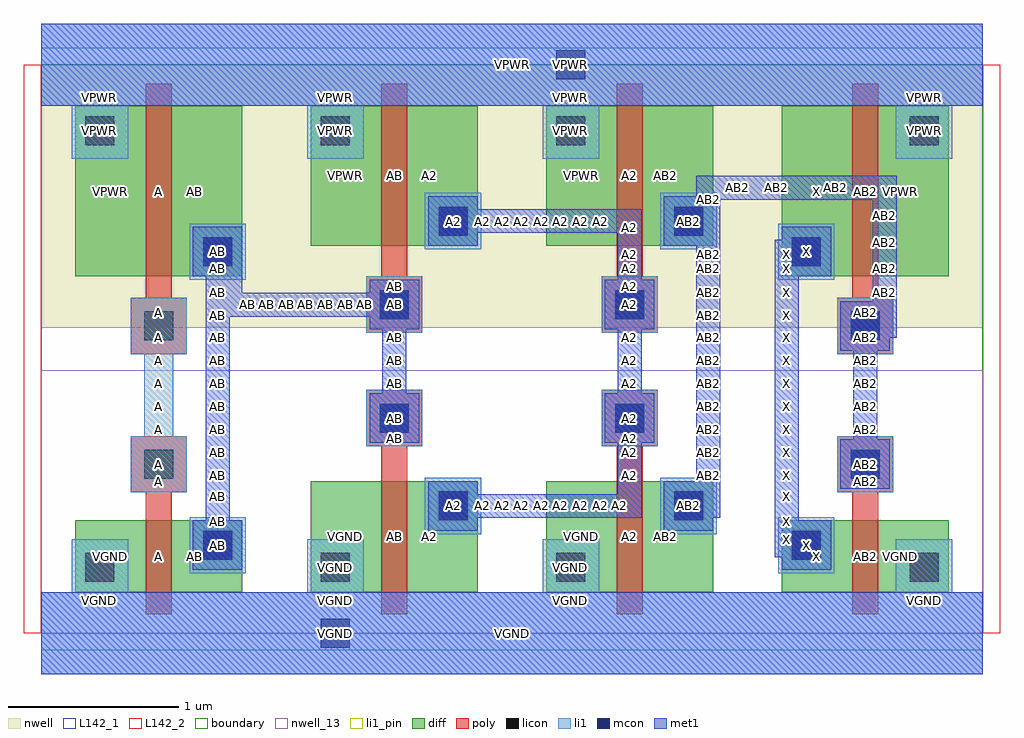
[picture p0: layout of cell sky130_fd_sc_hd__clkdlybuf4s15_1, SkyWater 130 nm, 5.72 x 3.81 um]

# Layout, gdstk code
import gdstk
lib = gdstk.Library(unit=1e-6, precision=1e-09)
def R(c, l, rs):  # rectangles x0, y0, x1, y1
    for r in rs: c.add(gdstk.rectangle(r[:2], r[2:], *l))
def A(c, l, x, y, w, h, nx, ny, dx, dy):  # array of equal rectangles
    R(c, l, [(x+i*dx, y+j*dy, x+i*dx+w, y+j*dy+h) for i in range(nx) for j in range(ny)])
def P(c, l, *ps):  # polygons
    for p in ps: c.add(gdstk.Polygon(p, *l))
nwell_13 = (64, 13)
nwell = (64, 20)
diff = (65, 20)
poly = (66, 20)
licon = (66, 44)
li1_pin = (67, 16)
li1 = (67, 20)
mcon = (67, 44)
met1 = (68, 20)
L142_1 = (142, 1)
L142_2 = (142, 2)
boundary = (235, 4)

sky130_fd_sc_hd__clkdlyb = lib.new_cell('sky130_fd_sc_hd__clkdlybuf4s15_1')
R(sky130_fd_sc_hd__clkdlyb, nwell_13, [(0,0,5.52,1.54)])
R(sky130_fd_sc_hd__clkdlyb, nwell, [(0,1.79,5.52,3.33)])
R(sky130_fd_sc_hd__clkdlyb, diff, [(0.2,0.24,1.18,0.66), (0.2,0.24,0.615,0.66), (0.615,0.24,1.18,0.66), (1.58,0.24,2.56,0.89), (1.58,0.24,1.995,0.89), (1.995,0.24,2.56,0.89), (2.96,0.24,3.94,0.89), (2.96,0.24,3.375,0.89), (3.375,0.24,3.94,0.89), (4.34,0.24,5.32,0.66), (4.34,0.24,4.755,0.66), (4.755,0.24,5.32,0.66), (0.2,2.09,1.18,3.09), (0.2,2.09,0.615,3.09), (0.615,2.09,1.18,3.09), (4.34,2.09,5.32,3.09), (4.34,2.09,4.755,3.09), (4.755,2.09,5.32,3.09), (1.58,2.27,2.56,3.09), (1.58,2.27,1.995,3.09), (1.995,2.27,2.56,3.09), (2.96,2.27,3.94,3.09), (2.96,2.27,3.375,3.09), (3.375,2.27,3.94,3.09)])
P(sky130_fd_sc_hd__clkdlyb, poly, [(3.375,0.11),(3.375,1.095),(3.285,1.095),(3.285,1.425),(3.615,1.425),(3.615,1.095),(3.525,1.095),(3.525,0.11)],
  [(3.285,1.76),(3.285,2.09),(3.375,2.09),(3.375,3.22),(3.525,3.22),(3.525,2.09),(3.615,2.09),(3.615,1.76)],
  [(0.615,0.11),(0.615,0.825),(0.525,0.825),(0.525,1.155),(0.855,1.155),(0.855,0.825),(0.765,0.825),(0.765,0.11)],
  [(0.525,1.635),(0.525,1.965),(0.615,1.965),(0.615,3.22),(0.765,3.22),(0.765,1.965),(0.855,1.965),(0.855,1.635)],
  [(1.995,0.11),(1.995,1.095),(1.905,1.095),(1.905,1.425),(2.235,1.425),(2.235,1.095),(2.145,1.095),(2.145,0.11)],
  [(1.905,1.76),(1.905,2.09),(1.995,2.09),(1.995,3.22),(2.145,3.22),(2.145,2.09),(2.235,2.09),(2.235,1.76)],
  [(4.755,0.11),(4.755,0.825),(4.665,0.825),(4.665,1.155),(4.995,1.155),(4.995,0.825),(4.905,0.825),(4.905,0.11)],
  [(4.665,1.635),(4.665,1.965),(4.755,1.965),(4.755,3.22),(4.905,3.22),(4.905,1.965),(4.995,1.965),(4.995,1.635)])
A(sky130_fd_sc_hd__clkdlyb, licon, 0.26, 0.3, 0.17, 0.17, 3, 2, 1.38, 2.56)
R(sky130_fd_sc_hd__clkdlyb, licon, [(5.09,0.3,5.26,0.47), (0.95,0.43,1.12,0.6), (4.4,0.43,4.57,0.6), (2.33,0.66,2.5,0.83), (3.71,0.66,3.88,0.83), (0.605,0.905,0.775,1.075), (4.745,0.905,4.915,1.075), (1.985,1.175,2.155,1.345), (3.365,1.175,3.535,1.345), (0.605,1.715,0.775,1.885), (4.745,1.715,4.915,1.885), (1.985,1.84,2.155,2.01), (3.365,1.84,3.535,2.01), (0.95,2.15,1.12,2.32), (4.4,2.15,4.57,2.32), (2.33,2.33,2.5,2.5), (3.71,2.33,3.88,2.5), (5.09,2.86,5.26,3.03)])
R(sky130_fd_sc_hd__clkdlyb, li1_pin, [(0,-0.24,5.52,0.24), (4.32,0.35,4.65,0.68), (0,3.09,5.52,3.57)])
P(sky130_fd_sc_hd__clkdlyb, li1_pin, [(0.525,0.825),(0.525,1.155),(0.605,1.155),(0.605,1.635),(0.525,1.635),(0.525,1.965),(0.855,1.965),(0.855,1.635),(0.775,1.635),(0.775,1.155),(0.855,1.155),(0.855,0.825)])
R(sky130_fd_sc_hd__clkdlyb, li1, [(0.87,0.35,1.2,0.68), (4.32,0.35,4.65,0.68), (2.25,0.58,2.58,0.91), (3.63,0.58,3.96,0.91), (4.665,0.825,4.995,1.155), (1.905,1.095,2.235,1.425), (3.285,1.095,3.615,1.425), (4.665,1.635,4.995,1.965), (1.905,1.76,2.235,2.09), (3.285,1.76,3.615,2.09), (0.87,2.07,1.2,2.4), (4.32,2.07,4.65,2.4), (2.25,2.25,2.58,2.58), (3.63,2.25,3.96,2.58)])
P(sky130_fd_sc_hd__clkdlyb, li1, [(0.18,2.78),(0.18,3.09),(0,3.09),(0,3.57),(5.52,3.57),(5.52,3.09),(5.34,3.09),(5.34,2.78),(5.01,2.78),(5.01,3.09),(3.27,3.09),(3.27,2.78),(2.94,2.78),(2.94,3.09),(1.89,3.09),(1.89,2.78),(1.56,2.78),(1.56,3.09),(0.51,3.09),(0.51,2.78)],
  [(0,-0.24),(0,0.24),(0.18,0.24),(0.18,0.55),(0.51,0.55),(0.51,0.24),(1.56,0.24),(1.56,0.55),(1.89,0.55),(1.89,0.24),(2.94,0.24),(2.94,0.55),(3.27,0.55),(3.27,0.24),(5.01,0.24),(5.01,0.55),(5.34,0.55),(5.34,0.24),(5.52,0.24),(5.52,-0.24)],
  [(0.525,0.825),(0.525,1.155),(0.605,1.155),(0.605,1.635),(0.525,1.635),(0.525,1.965),(0.855,1.965),(0.855,1.635),(0.775,1.635),(0.775,1.155),(0.855,1.155),(0.855,0.825)])
R(sky130_fd_sc_hd__clkdlyb, mcon, [(1.64,-0.085,1.81,0.085), (0.95,0.43,1.12,0.6), (4.4,0.43,4.57,0.6), (2.33,0.66,2.5,0.83), (3.71,0.66,3.88,0.83), (4.745,0.905,4.915,1.075), (1.985,1.175,2.155,1.345), (3.365,1.175,3.535,1.345), (4.745,1.715,4.915,1.885), (1.985,1.84,2.155,2.01), (3.365,1.84,3.535,2.01), (0.95,2.15,1.12,2.32), (4.4,2.15,4.57,2.32), (2.33,2.33,2.5,2.5), (3.71,2.33,3.88,2.5), (3.02,3.245,3.19,3.415)])
R(sky130_fd_sc_hd__clkdlyb, met1, [(0,-0.24,5.52,0.24), (1.105,1.995,1.18,2.09), (0,3.09,5.52,3.57)])
P(sky130_fd_sc_hd__clkdlyb, met1, [(2.27,0.6),(2.27,0.89),(2.56,0.89),(2.56,0.815),(3.38,0.815),(3.38,1.115),(3.305,1.115),(3.305,1.405),(3.38,1.405),(3.38,1.78),(3.305,1.78),(3.305,2.07),(3.38,2.07),(3.38,2.345),(2.56,2.345),(2.56,2.27),(2.27,2.27),(2.27,2.56),(2.56,2.56),(2.56,2.485),(3.52,2.485),(3.52,2.07),(3.595,2.07),(3.595,1.78),(3.52,1.78),(3.52,1.405),(3.595,1.405),(3.595,1.115),(3.52,1.115),(3.52,0.675),(2.56,0.675),(2.56,0.6)],
  [(0.89,0.37),(0.89,0.66),(0.965,0.66),(0.965,2.09),(0.89,2.09),(0.89,2.38),(1.18,2.38),(1.18,2.09),(1.105,2.09),(1.105,1.995),(1.925,1.995),(1.925,2.07),(2.215,2.07),(2.215,1.78),(2.14,1.78),(2.14,1.405),(2.215,1.405),(2.215,1.115),(1.925,1.115),(1.925,1.405),(2,1.405),(2,1.78),(1.925,1.78),(1.925,1.855),(1.105,1.855),(1.105,0.66),(1.18,0.66),(1.18,0.37)],
  [(4.34,0.37),(4.34,0.445),(4.3,0.445),(4.3,2.305),(4.34,2.305),(4.34,2.38),(4.63,2.38),(4.63,2.09),(4.44,2.09),(4.44,0.66),(4.63,0.66),(4.63,0.37)],
  [(3.65,0.6),(3.65,0.89),(3.84,0.89),(3.84,2.27),(3.65,2.27),(3.65,2.56),(3.84,2.56),(3.84,2.68),(5.015,2.68),(5.015,1.73),(4.975,1.73),(4.975,1.655),(4.9,1.655),(4.9,1.135),(4.975,1.135),(4.975,0.845),(4.685,0.845),(4.685,1.135),(4.76,1.135),(4.76,1.655),(4.685,1.655),(4.685,1.945),(4.875,1.945),(4.875,2.54),(3.98,2.54),(3.98,0.675),(3.94,0.675),(3.94,0.6)])
R(sky130_fd_sc_hd__clkdlyb, L142_1, [(0,-0.1,5.52,0), (0,3.33,5.52,3.43)])
R(sky130_fd_sc_hd__clkdlyb, L142_2, [(-0.1,0,0,3.33), (5.52,0,5.62,3.33)])
R(sky130_fd_sc_hd__clkdlyb, boundary, [(0,0,5.52,3.33)])
sky130_fd_sc_hd__clkdlyb.add(gdstk.Label('VGND', (1.787,0.565), layer=65, texttype=20))
sky130_fd_sc_hd__clkdlyb.add(gdstk.Label('A2', (2.277,0.565), layer=65, texttype=20))
sky130_fd_sc_hd__clkdlyb.add(gdstk.Label('VGND', (3.167,0.565), layer=65, texttype=20))
sky130_fd_sc_hd__clkdlyb.add(gdstk.Label('AB2', (3.657,0.565), layer=65, texttype=20))
sky130_fd_sc_hd__clkdlyb.add(gdstk.Label('VGND', (0.407,0.45), layer=65, texttype=20))
sky130_fd_sc_hd__clkdlyb.add(gdstk.Label('AB', (0.897,0.45), layer=65, texttype=20))
sky130_fd_sc_hd__clkdlyb.add(gdstk.Label('X', (4.547,0.45), layer=65, texttype=20))
sky130_fd_sc_hd__clkdlyb.add(gdstk.Label('VGND', (5.037,0.45), layer=65, texttype=20))
sky130_fd_sc_hd__clkdlyb.add(gdstk.Label('VGND', (1.787,0.565), layer=65, texttype=20))
sky130_fd_sc_hd__clkdlyb.add(gdstk.Label('A2', (2.277,0.565), layer=65, texttype=20))
sky130_fd_sc_hd__clkdlyb.add(gdstk.Label('VGND', (3.167,0.565), layer=65, texttype=20))
sky130_fd_sc_hd__clkdlyb.add(gdstk.Label('AB2', (3.657,0.565), layer=65, texttype=20))
sky130_fd_sc_hd__clkdlyb.add(gdstk.Label('VGND', (0.407,0.45), layer=65, texttype=20))
sky130_fd_sc_hd__clkdlyb.add(gdstk.Label('AB', (0.897,0.45), layer=65, texttype=20))
sky130_fd_sc_hd__clkdlyb.add(gdstk.Label('X', (4.547,0.45), layer=65, texttype=20))
sky130_fd_sc_hd__clkdlyb.add(gdstk.Label('VGND', (5.037,0.45), layer=65, texttype=20))
sky130_fd_sc_hd__clkdlyb.add(gdstk.Label('VGND', (1.725,0.385), layer=65, texttype=20))
sky130_fd_sc_hd__clkdlyb.add(gdstk.Label('VGND', (3.105,0.385), layer=65, texttype=20))
sky130_fd_sc_hd__clkdlyb.add(gdstk.Label('VGND', (5.175,0.385), layer=65, texttype=20))
sky130_fd_sc_hd__clkdlyb.add(gdstk.Label('VGND', (0.345,0.385), layer=65, texttype=20))
sky130_fd_sc_hd__clkdlyb.add(gdstk.Label('A2', (2.415,0.745), layer=65, texttype=20))
sky130_fd_sc_hd__clkdlyb.add(gdstk.Label('AB2', (3.795,0.745), layer=65, texttype=20))
sky130_fd_sc_hd__clkdlyb.add(gdstk.Label('AB', (1.035,0.515), layer=65, texttype=20))
sky130_fd_sc_hd__clkdlyb.add(gdstk.Label('X', (4.485,0.515), layer=65, texttype=20))
sky130_fd_sc_hd__clkdlyb.add(gdstk.Label('VPWR', (3.167,2.68), layer=65, texttype=20))
sky130_fd_sc_hd__clkdlyb.add(gdstk.Label('AB2', (3.657,2.68), layer=65, texttype=20))
sky130_fd_sc_hd__clkdlyb.add(gdstk.Label('VPWR', (0.407,2.59), layer=65, texttype=20))
sky130_fd_sc_hd__clkdlyb.add(gdstk.Label('AB', (0.897,2.59), layer=65, texttype=20))
sky130_fd_sc_hd__clkdlyb.add(gdstk.Label('X', (4.547,2.59), layer=65, texttype=20))
sky130_fd_sc_hd__clkdlyb.add(gdstk.Label('VPWR', (5.037,2.59), layer=65, texttype=20))
sky130_fd_sc_hd__clkdlyb.add(gdstk.Label('VPWR', (1.787,2.68), layer=65, texttype=20))
sky130_fd_sc_hd__clkdlyb.add(gdstk.Label('A2', (2.277,2.68), layer=65, texttype=20))
sky130_fd_sc_hd__clkdlyb.add(gdstk.Label('VPWR', (3.167,2.68), layer=65, texttype=20))
sky130_fd_sc_hd__clkdlyb.add(gdstk.Label('AB2', (3.657,2.68), layer=65, texttype=20))
sky130_fd_sc_hd__clkdlyb.add(gdstk.Label('VPWR', (0.407,2.59), layer=65, texttype=20))
sky130_fd_sc_hd__clkdlyb.add(gdstk.Label('AB', (0.897,2.59), layer=65, texttype=20))
sky130_fd_sc_hd__clkdlyb.add(gdstk.Label('X', (4.547,2.59), layer=65, texttype=20))
sky130_fd_sc_hd__clkdlyb.add(gdstk.Label('VPWR', (5.037,2.59), layer=65, texttype=20))
sky130_fd_sc_hd__clkdlyb.add(gdstk.Label('VPWR', (1.787,2.68), layer=65, texttype=20))
sky130_fd_sc_hd__clkdlyb.add(gdstk.Label('A2', (2.277,2.68), layer=65, texttype=20))
sky130_fd_sc_hd__clkdlyb.add(gdstk.Label('A2', (2.415,2.415), layer=65, texttype=20))
sky130_fd_sc_hd__clkdlyb.add(gdstk.Label('AB2', (3.795,2.415), layer=65, texttype=20))
sky130_fd_sc_hd__clkdlyb.add(gdstk.Label('AB', (1.035,2.235), layer=65, texttype=20))
sky130_fd_sc_hd__clkdlyb.add(gdstk.Label('X', (4.485,2.235), layer=65, texttype=20))
sky130_fd_sc_hd__clkdlyb.add(gdstk.Label('VPWR', (3.105,2.945), layer=65, texttype=20))
sky130_fd_sc_hd__clkdlyb.add(gdstk.Label('VPWR', (0.345,2.945), layer=65, texttype=20))
sky130_fd_sc_hd__clkdlyb.add(gdstk.Label('VPWR', (5.175,2.945), layer=65, texttype=20))
sky130_fd_sc_hd__clkdlyb.add(gdstk.Label('VPWR', (1.725,2.945), layer=65, texttype=20))
sky130_fd_sc_hd__clkdlyb.add(gdstk.Label('AB', (2.07,0.565), layer=66, texttype=20))
sky130_fd_sc_hd__clkdlyb.add(gdstk.Label('A2', (3.45,0.565), layer=66, texttype=20))
sky130_fd_sc_hd__clkdlyb.add(gdstk.Label('A', (0.69,0.45), layer=66, texttype=20))
sky130_fd_sc_hd__clkdlyb.add(gdstk.Label('A2', (3.45,2.68), layer=66, texttype=20))
sky130_fd_sc_hd__clkdlyb.add(gdstk.Label('A', (0.69,2.59), layer=66, texttype=20))
sky130_fd_sc_hd__clkdlyb.add(gdstk.Label('AB2', (4.83,2.59), layer=66, texttype=20))
sky130_fd_sc_hd__clkdlyb.add(gdstk.Label('AB2', (4.83,0.45), layer=66, texttype=20))
sky130_fd_sc_hd__clkdlyb.add(gdstk.Label('AB', (2.07,2.68), layer=66, texttype=20))
sky130_fd_sc_hd__clkdlyb.add(gdstk.Label('AB', (2.07,0.565), layer=66, texttype=20))
sky130_fd_sc_hd__clkdlyb.add(gdstk.Label('A2', (3.45,0.565), layer=66, texttype=20))
sky130_fd_sc_hd__clkdlyb.add(gdstk.Label('A', (0.69,0.45), layer=66, texttype=20))
sky130_fd_sc_hd__clkdlyb.add(gdstk.Label('A2', (3.45,2.68), layer=66, texttype=20))
sky130_fd_sc_hd__clkdlyb.add(gdstk.Label('A', (0.69,2.59), layer=66, texttype=20))
sky130_fd_sc_hd__clkdlyb.add(gdstk.Label('AB2', (4.83,2.59), layer=66, texttype=20))
sky130_fd_sc_hd__clkdlyb.add(gdstk.Label('AB2', (4.83,0.45), layer=66, texttype=20))
sky130_fd_sc_hd__clkdlyb.add(gdstk.Label('AB', (2.07,2.68), layer=66, texttype=20))
sky130_fd_sc_hd__clkdlyb.add(gdstk.Label('A2', (3.45,1.14), layer=66, texttype=20))
sky130_fd_sc_hd__clkdlyb.add(gdstk.Label('A2', (3.45,2.032), layer=66, texttype=20))
sky130_fd_sc_hd__clkdlyb.add(gdstk.Label('AB2', (4.83,1.88), layer=66, texttype=20))
sky130_fd_sc_hd__clkdlyb.add(gdstk.Label('AB2', (4.83,0.89), layer=66, texttype=20))
sky130_fd_sc_hd__clkdlyb.add(gdstk.Label('AB', (2.07,2.032), layer=66, texttype=20))
sky130_fd_sc_hd__clkdlyb.add(gdstk.Label('AB', (2.07,1.14), layer=66, texttype=20))
sky130_fd_sc_hd__clkdlyb.add(gdstk.Label('A', (0.69,0.89), layer=66, texttype=20))
sky130_fd_sc_hd__clkdlyb.add(gdstk.Label('A', (0.69,1.88), layer=66, texttype=20))
sky130_fd_sc_hd__clkdlyb.add(gdstk.Label('A2', (3.45,1.26), layer=66, texttype=20))
sky130_fd_sc_hd__clkdlyb.add(gdstk.Label('A2', (3.45,1.925), layer=66, texttype=20))
sky130_fd_sc_hd__clkdlyb.add(gdstk.Label('AB2', (4.83,1.8), layer=66, texttype=20))
sky130_fd_sc_hd__clkdlyb.add(gdstk.Label('AB2', (4.83,0.99), layer=66, texttype=20))
sky130_fd_sc_hd__clkdlyb.add(gdstk.Label('AB', (2.07,1.925), layer=66, texttype=20))
sky130_fd_sc_hd__clkdlyb.add(gdstk.Label('AB', (2.07,1.26), layer=66, texttype=20))
sky130_fd_sc_hd__clkdlyb.add(gdstk.Label('A', (0.69,0.99), layer=66, texttype=20))
sky130_fd_sc_hd__clkdlyb.add(gdstk.Label('A', (0.69,1.8), layer=66, texttype=20))
sky130_fd_sc_hd__clkdlyb.add(gdstk.Label('A2', (2.415,2.415), layer=66, texttype=44))
sky130_fd_sc_hd__clkdlyb.add(gdstk.Label('AB2', (3.795,2.415), layer=66, texttype=44))
sky130_fd_sc_hd__clkdlyb.add(gdstk.Label('AB', (1.035,2.235), layer=66, texttype=44))
sky130_fd_sc_hd__clkdlyb.add(gdstk.Label('X', (4.485,2.235), layer=66, texttype=44))
sky130_fd_sc_hd__clkdlyb.add(gdstk.Label('VPWR', (3.105,2.945), layer=66, texttype=44))
sky130_fd_sc_hd__clkdlyb.add(gdstk.Label('VPWR', (0.345,2.945), layer=66, texttype=44))
sky130_fd_sc_hd__clkdlyb.add(gdstk.Label('VPWR', (5.175,2.945), layer=66, texttype=44))
sky130_fd_sc_hd__clkdlyb.add(gdstk.Label('VPWR', (1.725,2.945), layer=66, texttype=44))
sky130_fd_sc_hd__clkdlyb.add(gdstk.Label('VGND', (1.725,0.385), layer=66, texttype=44))
sky130_fd_sc_hd__clkdlyb.add(gdstk.Label('VGND', (3.105,0.385), layer=66, texttype=44))
sky130_fd_sc_hd__clkdlyb.add(gdstk.Label('VGND', (5.175,0.385), layer=66, texttype=44))
sky130_fd_sc_hd__clkdlyb.add(gdstk.Label('VGND', (0.345,0.385), layer=66, texttype=44))
sky130_fd_sc_hd__clkdlyb.add(gdstk.Label('A2', (2.415,0.745), layer=66, texttype=44))
sky130_fd_sc_hd__clkdlyb.add(gdstk.Label('AB2', (3.795,0.745), layer=66, texttype=44))
sky130_fd_sc_hd__clkdlyb.add(gdstk.Label('AB', (1.035,0.515), layer=66, texttype=44))
sky130_fd_sc_hd__clkdlyb.add(gdstk.Label('X', (4.485,0.515), layer=66, texttype=44))
sky130_fd_sc_hd__clkdlyb.add(gdstk.Label('A2', (3.45,1.26), layer=66, texttype=44))
sky130_fd_sc_hd__clkdlyb.add(gdstk.Label('A2', (3.45,1.925), layer=66, texttype=44))
sky130_fd_sc_hd__clkdlyb.add(gdstk.Label('AB2', (4.83,1.8), layer=66, texttype=44))
sky130_fd_sc_hd__clkdlyb.add(gdstk.Label('AB2', (4.83,0.99), layer=66, texttype=44))
sky130_fd_sc_hd__clkdlyb.add(gdstk.Label('AB', (2.07,1.925), layer=66, texttype=44))
sky130_fd_sc_hd__clkdlyb.add(gdstk.Label('AB', (2.07,1.26), layer=66, texttype=44))
sky130_fd_sc_hd__clkdlyb.add(gdstk.Label('A', (0.69,0.99), layer=66, texttype=44))
sky130_fd_sc_hd__clkdlyb.add(gdstk.Label('A', (0.69,1.8), layer=66, texttype=44))
sky130_fd_sc_hd__clkdlyb.add(gdstk.Label('VPWR', (2.76,3.33), layer=67, texttype=20))
sky130_fd_sc_hd__clkdlyb.add(gdstk.Label('VGND', (2.76,0), layer=67, texttype=20))
sky130_fd_sc_hd__clkdlyb.add(gdstk.Label('VPWR', (2.76,3.33), layer=67, texttype=20))
sky130_fd_sc_hd__clkdlyb.add(gdstk.Label('VGND', (2.76,0), layer=67, texttype=20))
sky130_fd_sc_hd__clkdlyb.add(gdstk.Label('VGND', (1.725,0.192), layer=67, texttype=20))
sky130_fd_sc_hd__clkdlyb.add(gdstk.Label('VGND', (3.105,0.192), layer=67, texttype=20))
sky130_fd_sc_hd__clkdlyb.add(gdstk.Label('VGND', (5.175,0.192), layer=67, texttype=20))
sky130_fd_sc_hd__clkdlyb.add(gdstk.Label('VGND', (0.345,0.192), layer=67, texttype=20))
sky130_fd_sc_hd__clkdlyb.add(gdstk.Label('VPWR', (3.105,3.137), layer=67, texttype=20))
sky130_fd_sc_hd__clkdlyb.add(gdstk.Label('VPWR', (0.345,3.137), layer=67, texttype=20))
sky130_fd_sc_hd__clkdlyb.add(gdstk.Label('VPWR', (5.175,3.137), layer=67, texttype=20))
sky130_fd_sc_hd__clkdlyb.add(gdstk.Label('VPWR', (1.725,3.137), layer=67, texttype=20))
sky130_fd_sc_hd__clkdlyb.add(gdstk.Label('A', (0.69,1.057), layer=67, texttype=20))
sky130_fd_sc_hd__clkdlyb.add(gdstk.Label('A', (0.69,1.192), layer=67, texttype=20))
sky130_fd_sc_hd__clkdlyb.add(gdstk.Label('A', (0.69,1.327), layer=67, texttype=20))
sky130_fd_sc_hd__clkdlyb.add(gdstk.Label('A', (0.69,1.462), layer=67, texttype=20))
sky130_fd_sc_hd__clkdlyb.add(gdstk.Label('A', (0.69,1.597), layer=67, texttype=20))
sky130_fd_sc_hd__clkdlyb.add(gdstk.Label('A', (0.69,1.732), layer=67, texttype=20))
sky130_fd_sc_hd__clkdlyb.add(gdstk.Label('VGND', (1.725,0.385), layer=67, texttype=20))
sky130_fd_sc_hd__clkdlyb.add(gdstk.Label('VGND', (1.725,0), layer=67, texttype=20))
sky130_fd_sc_hd__clkdlyb.add(gdstk.Label('VGND', (3.105,0.385), layer=67, texttype=20))
sky130_fd_sc_hd__clkdlyb.add(gdstk.Label('VGND', (5.175,0.385), layer=67, texttype=20))
sky130_fd_sc_hd__clkdlyb.add(gdstk.Label('VGND', (0.345,0.385), layer=67, texttype=20))
sky130_fd_sc_hd__clkdlyb.add(gdstk.Label('A2', (2.415,0.745), layer=67, texttype=20))
sky130_fd_sc_hd__clkdlyb.add(gdstk.Label('A2', (2.415,0.745), layer=67, texttype=20))
sky130_fd_sc_hd__clkdlyb.add(gdstk.Label('A2', (3.45,1.26), layer=67, texttype=20))
sky130_fd_sc_hd__clkdlyb.add(gdstk.Label('A2', (3.45,1.26), layer=67, texttype=20))
sky130_fd_sc_hd__clkdlyb.add(gdstk.Label('A2', (3.45,1.925), layer=67, texttype=20))
sky130_fd_sc_hd__clkdlyb.add(gdstk.Label('A2', (3.45,1.925), layer=67, texttype=20))
sky130_fd_sc_hd__clkdlyb.add(gdstk.Label('A2', (2.415,2.415), layer=67, texttype=20))
sky130_fd_sc_hd__clkdlyb.add(gdstk.Label('A2', (2.415,2.415), layer=67, texttype=20))
sky130_fd_sc_hd__clkdlyb.add(gdstk.Label('AB2', (3.795,0.745), layer=67, texttype=20))
sky130_fd_sc_hd__clkdlyb.add(gdstk.Label('AB2', (3.795,0.745), layer=67, texttype=20))
sky130_fd_sc_hd__clkdlyb.add(gdstk.Label('AB2', (3.795,2.415), layer=67, texttype=20))
sky130_fd_sc_hd__clkdlyb.add(gdstk.Label('AB2', (3.795,2.415), layer=67, texttype=20))
sky130_fd_sc_hd__clkdlyb.add(gdstk.Label('AB2', (4.83,1.8), layer=67, texttype=20))
sky130_fd_sc_hd__clkdlyb.add(gdstk.Label('AB2', (4.83,1.8), layer=67, texttype=20))
sky130_fd_sc_hd__clkdlyb.add(gdstk.Label('AB2', (4.83,0.99), layer=67, texttype=20))
sky130_fd_sc_hd__clkdlyb.add(gdstk.Label('AB2', (4.83,0.99), layer=67, texttype=20))
sky130_fd_sc_hd__clkdlyb.add(gdstk.Label('AB', (1.035,0.515), layer=67, texttype=20))
sky130_fd_sc_hd__clkdlyb.add(gdstk.Label('AB', (1.035,0.515), layer=67, texttype=20))
sky130_fd_sc_hd__clkdlyb.add(gdstk.Label('AB', (1.035,2.235), layer=67, texttype=20))
sky130_fd_sc_hd__clkdlyb.add(gdstk.Label('AB', (1.035,2.235), layer=67, texttype=20))
sky130_fd_sc_hd__clkdlyb.add(gdstk.Label('AB', (2.07,1.925), layer=67, texttype=20))
sky130_fd_sc_hd__clkdlyb.add(gdstk.Label('AB', (2.07,1.925), layer=67, texttype=20))
sky130_fd_sc_hd__clkdlyb.add(gdstk.Label('AB', (2.07,1.26), layer=67, texttype=20))
sky130_fd_sc_hd__clkdlyb.add(gdstk.Label('AB', (2.07,1.26), layer=67, texttype=20))
sky130_fd_sc_hd__clkdlyb.add(gdstk.Label('X', (4.485,0.515), layer=67, texttype=20))
sky130_fd_sc_hd__clkdlyb.add(gdstk.Label('X', (4.485,0.515), layer=67, texttype=20))
sky130_fd_sc_hd__clkdlyb.add(gdstk.Label('X', (4.485,2.235), layer=67, texttype=20))
sky130_fd_sc_hd__clkdlyb.add(gdstk.Label('X', (4.485,2.235), layer=67, texttype=20))
sky130_fd_sc_hd__clkdlyb.add(gdstk.Label('VPWR', (3.105,2.945), layer=67, texttype=20))
sky130_fd_sc_hd__clkdlyb.add(gdstk.Label('VPWR', (3.105,3.33), layer=67, texttype=20))
sky130_fd_sc_hd__clkdlyb.add(gdstk.Label('VPWR', (0.345,2.945), layer=67, texttype=20))
sky130_fd_sc_hd__clkdlyb.add(gdstk.Label('VPWR', (5.175,2.945), layer=67, texttype=20))
sky130_fd_sc_hd__clkdlyb.add(gdstk.Label('VPWR', (1.725,2.945), layer=67, texttype=20))
sky130_fd_sc_hd__clkdlyb.add(gdstk.Label('A', (0.69,0.99), layer=67, texttype=20))
sky130_fd_sc_hd__clkdlyb.add(gdstk.Label('A', (0.69,1.8), layer=67, texttype=20))
sky130_fd_sc_hd__clkdlyb.add(gdstk.Label('X', (4.485,0.515), layer=67, texttype=5))
sky130_fd_sc_hd__clkdlyb.add(gdstk.Label('A', (0.69,0.99), layer=67, texttype=5))
sky130_fd_sc_hd__clkdlyb.add(gdstk.Label('VGND', (2.76,0), layer=67, texttype=5))
sky130_fd_sc_hd__clkdlyb.add(gdstk.Label('VPWR', (2.76,3.33), layer=67, texttype=5))
sky130_fd_sc_hd__clkdlyb.add(gdstk.Label('VGND', (1.725,0), layer=67, texttype=44))
sky130_fd_sc_hd__clkdlyb.add(gdstk.Label('A2', (2.415,0.745), layer=67, texttype=44))
sky130_fd_sc_hd__clkdlyb.add(gdstk.Label('A2', (3.45,1.26), layer=67, texttype=44))
sky130_fd_sc_hd__clkdlyb.add(gdstk.Label('A2', (3.45,1.925), layer=67, texttype=44))
sky130_fd_sc_hd__clkdlyb.add(gdstk.Label('A2', (2.415,2.415), layer=67, texttype=44))
sky130_fd_sc_hd__clkdlyb.add(gdstk.Label('AB2', (3.795,0.745), layer=67, texttype=44))
sky130_fd_sc_hd__clkdlyb.add(gdstk.Label('AB2', (3.795,2.415), layer=67, texttype=44))
sky130_fd_sc_hd__clkdlyb.add(gdstk.Label('AB2', (4.83,1.8), layer=67, texttype=44))
sky130_fd_sc_hd__clkdlyb.add(gdstk.Label('AB2', (4.83,0.99), layer=67, texttype=44))
sky130_fd_sc_hd__clkdlyb.add(gdstk.Label('AB', (1.035,0.515), layer=67, texttype=44))
sky130_fd_sc_hd__clkdlyb.add(gdstk.Label('AB', (1.035,2.235), layer=67, texttype=44))
sky130_fd_sc_hd__clkdlyb.add(gdstk.Label('AB', (2.07,1.925), layer=67, texttype=44))
sky130_fd_sc_hd__clkdlyb.add(gdstk.Label('AB', (2.07,1.26), layer=67, texttype=44))
sky130_fd_sc_hd__clkdlyb.add(gdstk.Label('X', (4.485,0.515), layer=67, texttype=44))
sky130_fd_sc_hd__clkdlyb.add(gdstk.Label('X', (4.485,2.235), layer=67, texttype=44))
sky130_fd_sc_hd__clkdlyb.add(gdstk.Label('VPWR', (3.105,3.33), layer=67, texttype=44))
sky130_fd_sc_hd__clkdlyb.add(gdstk.Label('A2', (3.45,1.732), layer=68, texttype=20))
sky130_fd_sc_hd__clkdlyb.add(gdstk.Label('AB2', (3.91,1.732), layer=68, texttype=20))
sky130_fd_sc_hd__clkdlyb.add(gdstk.Label('AB2', (4.83,1.732), layer=68, texttype=20))
sky130_fd_sc_hd__clkdlyb.add(gdstk.Label('X', (4.37,1.732), layer=68, texttype=20))
sky130_fd_sc_hd__clkdlyb.add(gdstk.Label('A2', (3.45,1.997), layer=68, texttype=20))
sky130_fd_sc_hd__clkdlyb.add(gdstk.Label('A2', (3.45,2.137), layer=68, texttype=20))
sky130_fd_sc_hd__clkdlyb.add(gdstk.Label('A2', (3.45,2.22), layer=68, texttype=20))
sky130_fd_sc_hd__clkdlyb.add(gdstk.Label('AB2', (3.91,1.862), layer=68, texttype=20))
sky130_fd_sc_hd__clkdlyb.add(gdstk.Label('AB2', (3.91,1.997), layer=68, texttype=20))
sky130_fd_sc_hd__clkdlyb.add(gdstk.Label('AB2', (3.91,2.137), layer=68, texttype=20))
sky130_fd_sc_hd__clkdlyb.add(gdstk.Label('AB2', (3.91,2.22), layer=68, texttype=20))
sky130_fd_sc_hd__clkdlyb.add(gdstk.Label('AB2', (3.91,2.287), layer=68, texttype=20))
sky130_fd_sc_hd__clkdlyb.add(gdstk.Label('AB2', (3.91,2.377), layer=68, texttype=20))
sky130_fd_sc_hd__clkdlyb.add(gdstk.Label('AB2', (3.91,2.445), layer=68, texttype=20))
sky130_fd_sc_hd__clkdlyb.add(gdstk.Label('AB2', (3.852,2.415), layer=68, texttype=20))
sky130_fd_sc_hd__clkdlyb.add(gdstk.Label('AB2', (3.91,2.542), layer=68, texttype=20))
sky130_fd_sc_hd__clkdlyb.add(gdstk.Label('AB2', (3.967,2.61), layer=68, texttype=20))
sky130_fd_sc_hd__clkdlyb.add(gdstk.Label('AB2', (4.082,2.61), layer=68, texttype=20))
sky130_fd_sc_hd__clkdlyb.add(gdstk.Label('AB2', (4.197,2.61), layer=68, texttype=20))
sky130_fd_sc_hd__clkdlyb.add(gdstk.Label('AB2', (4.312,2.61), layer=68, texttype=20))
sky130_fd_sc_hd__clkdlyb.add(gdstk.Label('AB2', (4.427,2.61), layer=68, texttype=20))
sky130_fd_sc_hd__clkdlyb.add(gdstk.Label('AB2', (4.542,2.61), layer=68, texttype=20))
sky130_fd_sc_hd__clkdlyb.add(gdstk.Label('AB2', (4.657,2.61), layer=68, texttype=20))
sky130_fd_sc_hd__clkdlyb.add(gdstk.Label('AB2', (4.772,2.61), layer=68, texttype=20))
sky130_fd_sc_hd__clkdlyb.add(gdstk.Label('AB2', (4.887,2.61), layer=68, texttype=20))
sky130_fd_sc_hd__clkdlyb.add(gdstk.Label('AB2', (4.945,2.542), layer=68, texttype=20))
sky130_fd_sc_hd__clkdlyb.add(gdstk.Label('AB2', (4.945,2.445), layer=68, texttype=20))
sky130_fd_sc_hd__clkdlyb.add(gdstk.Label('AB2', (4.945,2.377), layer=68, texttype=20))
sky130_fd_sc_hd__clkdlyb.add(gdstk.Label('AB2', (4.945,2.287), layer=68, texttype=20))
sky130_fd_sc_hd__clkdlyb.add(gdstk.Label('AB2', (4.945,2.22), layer=68, texttype=20))
sky130_fd_sc_hd__clkdlyb.add(gdstk.Label('AB2', (4.945,2.137), layer=68, texttype=20))
sky130_fd_sc_hd__clkdlyb.add(gdstk.Label('AB2', (4.945,1.997), layer=68, texttype=20))
sky130_fd_sc_hd__clkdlyb.add(gdstk.Label('AB2', (4.945,1.862), layer=68, texttype=20))
sky130_fd_sc_hd__clkdlyb.add(gdstk.Label('AB2', (4.887,1.8), layer=68, texttype=20))
sky130_fd_sc_hd__clkdlyb.add(gdstk.Label('A2', (3.45,2.287), layer=68, texttype=20))
sky130_fd_sc_hd__clkdlyb.add(gdstk.Label('A2', (3.45,2.377), layer=68, texttype=20))
sky130_fd_sc_hd__clkdlyb.add(gdstk.Label('A2', (3.392,2.415), layer=68, texttype=20))
sky130_fd_sc_hd__clkdlyb.add(gdstk.Label('A2', (3.277,2.415), layer=68, texttype=20))
sky130_fd_sc_hd__clkdlyb.add(gdstk.Label('A2', (3.162,2.415), layer=68, texttype=20))
sky130_fd_sc_hd__clkdlyb.add(gdstk.Label('A2', (3.047,2.415), layer=68, texttype=20))
sky130_fd_sc_hd__clkdlyb.add(gdstk.Label('A2', (3.45,1.862), layer=68, texttype=20))
sky130_fd_sc_hd__clkdlyb.add(gdstk.Label('X', (4.37,1.862), layer=68, texttype=20))
sky130_fd_sc_hd__clkdlyb.add(gdstk.Label('X', (4.37,1.997), layer=68, texttype=20))
sky130_fd_sc_hd__clkdlyb.add(gdstk.Label('X', (4.37,2.137), layer=68, texttype=20))
sky130_fd_sc_hd__clkdlyb.add(gdstk.Label('X', (4.37,2.22), layer=68, texttype=20))
sky130_fd_sc_hd__clkdlyb.add(gdstk.Label('X', (4.427,2.235), layer=68, texttype=20))
sky130_fd_sc_hd__clkdlyb.add(gdstk.Label('A2', (3.45,1.925), layer=68, texttype=20))
sky130_fd_sc_hd__clkdlyb.add(gdstk.Label('AB2', (3.795,2.415), layer=68, texttype=20))
sky130_fd_sc_hd__clkdlyb.add(gdstk.Label('AB2', (4.83,1.8), layer=68, texttype=20))
sky130_fd_sc_hd__clkdlyb.add(gdstk.Label('X', (4.485,2.235), layer=68, texttype=20))
sky130_fd_sc_hd__clkdlyb.add(gdstk.Label('VPWR', (3.105,3.33), layer=68, texttype=20))
sky130_fd_sc_hd__clkdlyb.add(gdstk.Label('AB', (2.07,1.732), layer=68, texttype=20))
sky130_fd_sc_hd__clkdlyb.add(gdstk.Label('A2', (2.817,2.415), layer=68, texttype=20))
sky130_fd_sc_hd__clkdlyb.add(gdstk.Label('AB', (1.437,1.925), layer=68, texttype=20))
sky130_fd_sc_hd__clkdlyb.add(gdstk.Label('AB', (1.552,1.925), layer=68, texttype=20))
sky130_fd_sc_hd__clkdlyb.add(gdstk.Label('AB', (1.667,1.925), layer=68, texttype=20))
sky130_fd_sc_hd__clkdlyb.add(gdstk.Label('AB', (1.782,1.925), layer=68, texttype=20))
sky130_fd_sc_hd__clkdlyb.add(gdstk.Label('AB', (1.897,1.925), layer=68, texttype=20))
sky130_fd_sc_hd__clkdlyb.add(gdstk.Label('AB', (2.012,1.925), layer=68, texttype=20))
sky130_fd_sc_hd__clkdlyb.add(gdstk.Label('AB', (2.07,1.862), layer=68, texttype=20))
sky130_fd_sc_hd__clkdlyb.add(gdstk.Label('A2', (2.472,2.415), layer=68, texttype=20))
sky130_fd_sc_hd__clkdlyb.add(gdstk.Label('A2', (2.587,2.415), layer=68, texttype=20))
sky130_fd_sc_hd__clkdlyb.add(gdstk.Label('AB', (1.035,1.862), layer=68, texttype=20))
sky130_fd_sc_hd__clkdlyb.add(gdstk.Label('AB', (1.035,1.997), layer=68, texttype=20))
sky130_fd_sc_hd__clkdlyb.add(gdstk.Label('AB', (1.092,1.925), layer=68, texttype=20))
sky130_fd_sc_hd__clkdlyb.add(gdstk.Label('AB', (1.035,2.137), layer=68, texttype=20))
sky130_fd_sc_hd__clkdlyb.add(gdstk.Label('AB', (1.035,2.22), layer=68, texttype=20))
sky130_fd_sc_hd__clkdlyb.add(gdstk.Label('AB', (1.207,1.925), layer=68, texttype=20))
sky130_fd_sc_hd__clkdlyb.add(gdstk.Label('AB', (1.322,1.925), layer=68, texttype=20))
sky130_fd_sc_hd__clkdlyb.add(gdstk.Label('A2', (2.932,2.415), layer=68, texttype=20))
sky130_fd_sc_hd__clkdlyb.add(gdstk.Label('A2', (2.415,2.415), layer=68, texttype=20))
sky130_fd_sc_hd__clkdlyb.add(gdstk.Label('A2', (2.702,2.415), layer=68, texttype=20))
sky130_fd_sc_hd__clkdlyb.add(gdstk.Label('VPWR', (2.76,3.33), layer=68, texttype=20))
sky130_fd_sc_hd__clkdlyb.add(gdstk.Label('AB', (1.035,2.235), layer=68, texttype=20))
sky130_fd_sc_hd__clkdlyb.add(gdstk.Label('AB', (2.07,1.925), layer=68, texttype=20))
sky130_fd_sc_hd__clkdlyb.add(gdstk.Label('VPWR', (2.76,3.33), layer=68, texttype=20))
sky130_fd_sc_hd__clkdlyb.add(gdstk.Label('AB', (1.035,1.732), layer=68, texttype=20))
sky130_fd_sc_hd__clkdlyb.add(gdstk.Label('AB', (1.035,0.8), layer=68, texttype=20))
sky130_fd_sc_hd__clkdlyb.add(gdstk.Label('AB', (1.035,0.922), layer=68, texttype=20))
sky130_fd_sc_hd__clkdlyb.add(gdstk.Label('AB', (2.07,1.462), layer=68, texttype=20))
sky130_fd_sc_hd__clkdlyb.add(gdstk.Label('AB', (2.07,1.327), layer=68, texttype=20))
sky130_fd_sc_hd__clkdlyb.add(gdstk.Label('AB', (1.035,1.057), layer=68, texttype=20))
sky130_fd_sc_hd__clkdlyb.add(gdstk.Label('AB', (1.035,1.192), layer=68, texttype=20))
sky130_fd_sc_hd__clkdlyb.add(gdstk.Label('AB', (1.035,1.327), layer=68, texttype=20))
sky130_fd_sc_hd__clkdlyb.add(gdstk.Label('AB', (1.035,1.462), layer=68, texttype=20))
sky130_fd_sc_hd__clkdlyb.add(gdstk.Label('A2', (2.472,0.745), layer=68, texttype=20))
sky130_fd_sc_hd__clkdlyb.add(gdstk.Label('A2', (2.587,0.745), layer=68, texttype=20))
sky130_fd_sc_hd__clkdlyb.add(gdstk.Label('AB', (1.035,0.55), layer=68, texttype=20))
sky130_fd_sc_hd__clkdlyb.add(gdstk.Label('A2', (2.932,0.745), layer=68, texttype=20))
sky130_fd_sc_hd__clkdlyb.add(gdstk.Label('VGND', (1.725,0), layer=68, texttype=20))
sky130_fd_sc_hd__clkdlyb.add(gdstk.Label('A2', (2.415,0.745), layer=68, texttype=20))
sky130_fd_sc_hd__clkdlyb.add(gdstk.Label('A2', (2.817,0.745), layer=68, texttype=20))
sky130_fd_sc_hd__clkdlyb.add(gdstk.Label('VGND', (2.76,0), layer=68, texttype=20))
sky130_fd_sc_hd__clkdlyb.add(gdstk.Label('AB', (1.035,1.597), layer=68, texttype=20))
sky130_fd_sc_hd__clkdlyb.add(gdstk.Label('VGND', (2.76,0), layer=68, texttype=20))
sky130_fd_sc_hd__clkdlyb.add(gdstk.Label('AB', (1.035,0.515), layer=68, texttype=20))
sky130_fd_sc_hd__clkdlyb.add(gdstk.Label('A2', (2.702,0.745), layer=68, texttype=20))
sky130_fd_sc_hd__clkdlyb.add(gdstk.Label('AB', (2.07,1.597), layer=68, texttype=20))
sky130_fd_sc_hd__clkdlyb.add(gdstk.Label('AB', (2.07,1.26), layer=68, texttype=20))
sky130_fd_sc_hd__clkdlyb.add(gdstk.Label('AB', (1.035,0.652), layer=68, texttype=20))
sky130_fd_sc_hd__clkdlyb.add(gdstk.Label('AB', (1.035,0.732), layer=68, texttype=20))
sky130_fd_sc_hd__clkdlyb.add(gdstk.Label('AB2', (3.91,1.057), layer=68, texttype=20))
sky130_fd_sc_hd__clkdlyb.add(gdstk.Label('AB2', (3.91,1.192), layer=68, texttype=20))
sky130_fd_sc_hd__clkdlyb.add(gdstk.Label('AB2', (3.91,1.327), layer=68, texttype=20))
sky130_fd_sc_hd__clkdlyb.add(gdstk.Label('AB2', (3.91,1.462), layer=68, texttype=20))
sky130_fd_sc_hd__clkdlyb.add(gdstk.Label('A2', (3.45,0.922), layer=68, texttype=20))
sky130_fd_sc_hd__clkdlyb.add(gdstk.Label('A2', (3.45,1.057), layer=68, texttype=20))
sky130_fd_sc_hd__clkdlyb.add(gdstk.Label('X', (4.427,0.515), layer=68, texttype=20))
sky130_fd_sc_hd__clkdlyb.add(gdstk.Label('X', (4.37,0.55), layer=68, texttype=20))
sky130_fd_sc_hd__clkdlyb.add(gdstk.Label('X', (4.37,0.652), layer=68, texttype=20))
sky130_fd_sc_hd__clkdlyb.add(gdstk.Label('X', (4.37,0.732), layer=68, texttype=20))
sky130_fd_sc_hd__clkdlyb.add(gdstk.Label('X', (4.37,0.8), layer=68, texttype=20))
sky130_fd_sc_hd__clkdlyb.add(gdstk.Label('X', (4.37,0.922), layer=68, texttype=20))
sky130_fd_sc_hd__clkdlyb.add(gdstk.Label('X', (4.37,1.057), layer=68, texttype=20))
sky130_fd_sc_hd__clkdlyb.add(gdstk.Label('X', (4.37,1.192), layer=68, texttype=20))
sky130_fd_sc_hd__clkdlyb.add(gdstk.Label('X', (4.37,1.327), layer=68, texttype=20))
sky130_fd_sc_hd__clkdlyb.add(gdstk.Label('X', (4.37,1.462), layer=68, texttype=20))
sky130_fd_sc_hd__clkdlyb.add(gdstk.Label('A2', (3.45,1.192), layer=68, texttype=20))
sky130_fd_sc_hd__clkdlyb.add(gdstk.Label('A2', (3.45,1.327), layer=68, texttype=20))
sky130_fd_sc_hd__clkdlyb.add(gdstk.Label('A2', (3.45,1.462), layer=68, texttype=20))
sky130_fd_sc_hd__clkdlyb.add(gdstk.Label('AB2', (4.83,1.597), layer=68, texttype=20))
sky130_fd_sc_hd__clkdlyb.add(gdstk.Label('A2', (3.047,0.745), layer=68, texttype=20))
sky130_fd_sc_hd__clkdlyb.add(gdstk.Label('A2', (3.162,0.745), layer=68, texttype=20))
sky130_fd_sc_hd__clkdlyb.add(gdstk.Label('A2', (3.277,0.745), layer=68, texttype=20))
sky130_fd_sc_hd__clkdlyb.add(gdstk.Label('A2', (3.45,1.597), layer=68, texttype=20))
sky130_fd_sc_hd__clkdlyb.add(gdstk.Label('X', (4.37,1.597), layer=68, texttype=20))
sky130_fd_sc_hd__clkdlyb.add(gdstk.Label('A2', (3.45,1.26), layer=68, texttype=20))
sky130_fd_sc_hd__clkdlyb.add(gdstk.Label('AB2', (3.91,1.597), layer=68, texttype=20))
sky130_fd_sc_hd__clkdlyb.add(gdstk.Label('A2', (3.392,0.745), layer=68, texttype=20))
sky130_fd_sc_hd__clkdlyb.add(gdstk.Label('AB2', (3.795,0.745), layer=68, texttype=20))
sky130_fd_sc_hd__clkdlyb.add(gdstk.Label('A2', (3.45,0.8), layer=68, texttype=20))
sky130_fd_sc_hd__clkdlyb.add(gdstk.Label('AB2', (3.852,0.745), layer=68, texttype=20))
sky130_fd_sc_hd__clkdlyb.add(gdstk.Label('AB2', (4.83,0.99), layer=68, texttype=20))
sky130_fd_sc_hd__clkdlyb.add(gdstk.Label('AB2', (3.91,0.8), layer=68, texttype=20))
sky130_fd_sc_hd__clkdlyb.add(gdstk.Label('AB2', (4.83,1.462), layer=68, texttype=20))
sky130_fd_sc_hd__clkdlyb.add(gdstk.Label('AB2', (4.83,1.327), layer=68, texttype=20))
sky130_fd_sc_hd__clkdlyb.add(gdstk.Label('AB2', (4.83,1.192), layer=68, texttype=20))
sky130_fd_sc_hd__clkdlyb.add(gdstk.Label('X', (4.485,0.515), layer=68, texttype=20))
sky130_fd_sc_hd__clkdlyb.add(gdstk.Label('AB2', (4.83,1.057), layer=68, texttype=20))
sky130_fd_sc_hd__clkdlyb.add(gdstk.Label('AB2', (3.91,0.922), layer=68, texttype=20))
sky130_fd_sc_hd__clkdlyb.add(gdstk.Label('VGND', (2.76,0), layer=68, texttype=5))
sky130_fd_sc_hd__clkdlyb.add(gdstk.Label('VPWR', (2.76,3.33), layer=68, texttype=5))

lib.write_gds('sky130_fd_sc_hd__clkdlybuf4s15_1.gds')
